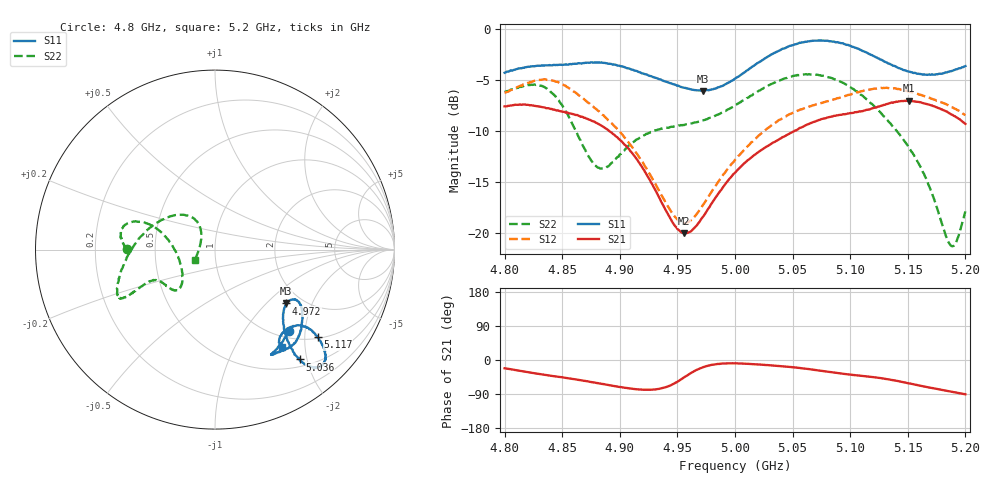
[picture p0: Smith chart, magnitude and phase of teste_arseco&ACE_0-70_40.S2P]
! Network Analyzer HP8722D
! Hewlett-Packard
! Data name: Linha & Wilkinson
! Saver's name: Rodrigo Anjos
! Comments: Teste da utilização de aquisição
! continua pelo VNA HP8722D
! Time and date: 8/5/2025 13:05
!  Frequency  S11  S21  S12  S22
# HZ  S  MA R 50
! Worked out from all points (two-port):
!   401 points, 4.8 GHz to 5.2 GHz, reference 50 ohm
!   highest |S21| = -7.03 dB at 5.151 GHz (marker M1); lowest = -20.0 dB at 4.956 GHz (marker M2)
!   |S21| within 3 dB of the highest: start of sweep to 4.891 GHz; 5.051 GHz to end of sweep
!   lowest |S11| = -6.1 dB at 4.972 GHz (marker M3), VSWR 2.98, Z = 83 - j66.1 ohm
!   |S11| at or under -10 dB: nowhere
!   |S22| runs from -21.3 to -4.4 dB; largest |S21 - S12| = 0.95
!   S11 on the Smith chart (normalised r, x): 4.8 GHz: 1.14, -1.64; 4.972 GHz: 1.66, -1.32; 5.036 GHz: 0.62, -1.87; 5.117 GHz: 1.04, -2.32; 5.2 GHz: 0.82, -1.57
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4.8e9  0.6105 -47.7  0.4179 -21.9  0.4881 -175.9  0.4917 179.8
4.821e9  0.6528 -58.5  0.4244 -32.8  0.5435 176.7  0.5309 171.4
4.837e9  0.6635 -61.8  0.4091 -40.5  0.5627 167.4  0.5095 163.4
4.851e9  0.6682 -59.8  0.3931 -46.2  0.5327 158.6  0.4131 159.0
4.867e9  0.6776 -55.0  0.3723 -54.0  0.4615 150.8  0.2748 166.7
4.877e9  0.684 -51.7  0.353 -59.0  0.416 146.9  0.2191 -177.3
4.886e9  0.6821 -48.5  0.3307 -63.7  0.3772 143.8  0.2081 -158.6
4.909e9  0.6372 -40.7  0.2531 -75.1  0.2718 137.7  0.2728 -133.3
4.934e9  0.5667 -33.0  0.1501 -76.3  0.162 141.0  0.3221 -135.6
4.956e9  0.5148 -32.7  0.09973 -45.4  0.112 172.5  0.3386 -144.7
4.972e9  0.4977 -37.0  0.1199 -19.3  0.137 -161.2  0.3563 -151.0
5e9  0.5709 -47.9  0.1976 -8.8  0.2285 -146.9  0.423 -154.0
5.036e9  0.7729 -52.4  0.2833 -15.3  0.3499 -147.6  0.5536 -152.2
5.067e9  0.8748 -48.4  0.348 -25.2  0.4217 -154.4  0.5987 -155.0
5.095e9  0.8428 -43.4  0.3821 -37.1  0.4687 -162.3  0.5401 -166.5
5.117e9  0.7514 -40.4  0.4038 -44.1  0.5053 -172.7  0.4378 174.1
5.134e9  0.6761 -40.1  0.4325 -51.6  0.5124 177.2  0.3484 153.2
5.151e9  0.6187 -43.2  0.4451 -61.6  0.4943 167.7  0.262 132.3
5.166e9  0.5967 -48.4  0.4295 -70.9  0.4653 161.0  0.1845 122.3
5.187e9  0.6202 -54.9  0.3846 -83.3  0.4179 153.7  0.08731 158.3
5.192e9  0.6338 -55.4  0.3697 -85.8  0.4048 151.9  0.09031 -178.2
5.2e9  0.6582 -55.7  0.3427 -90.5  0.3786 149.3  0.1279 -152.4
